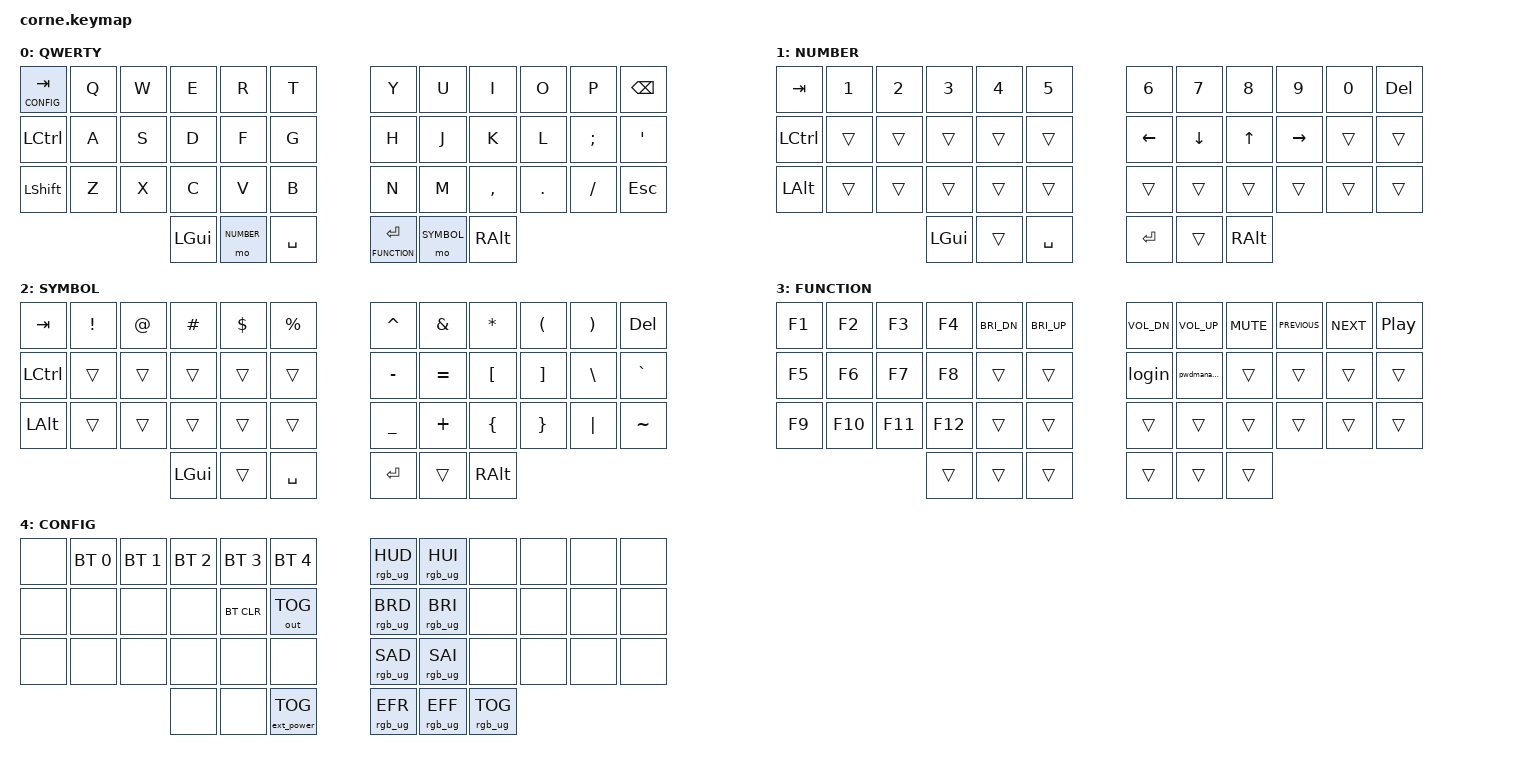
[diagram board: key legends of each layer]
// ZMK
#include <behaviors.dtsi>
#include <dt-bindings/zmk/keys.h>
#include <dt-bindings/zmk/bt.h>
#include <dt-bindings/zmk/outputs.h>
#include <dt-bindings/zmk/ext_power.h>
#include <dt-bindings/zmk/rgb.h>

// Layers
#define BASE 0
#define NUMBER 1
#define SYMBOL 2
#define FUNCTION 3
#define CONFIG 4

// Bluetooth shortcuts
#define BD1 &bt BT_SEL 0
#define BD2 &bt BT_SEL 1
#define BD3 &bt BT_SEL 2
#define BD4 &bt BT_SEL 3
#define BD5 &bt BT_SEL 4
#define BC &bt BT_CLR

// Keycodes remap
#define ___ &trans
#define XXX &none

// layer tap
#define FUNCTION_RETURN &lt FUNCTION RETURN
#define CONFIG_TAB &lt CONFIG TAB 

&led_strip {
    chain-length = <27>;
};

/ {
  macros {
    login: login {
             label = "ZM_login_macro";
             compatible = "zmk,behavior-macro";
             #binding-cells = <0>;
             wait-ms = <1>;
             tap-ms = <1>;
             bindings
                = <&kp LS(U) &kp N &kp B &kp R &kp O &kp K &kp E &kp N>
                , <&kp MINUS>
                , <&kp LS(J) &kp O &kp L &kp L &kp I &kp N &kp E &kp S &kp S>
                , <&kp EXCLAMATION &kp MINUS>
                , <&kp LS(S) &kp Q &kp U &kp E &kp A &kp L &kp E &kp R>
                ;
    };
    pwdmanager: pwdmanager {
             label = "ZM_pwdmanager_macro";
             compatible = "zmk,behavior-macro";
             #binding-cells = <0>;
             wait-ms = <1>;
             tap-ms = <1>;
             bindings
                = <&kp LS(M) &kp Y &kp LS(N) &kp A &kp M &kp E &kp LS(I) &kp S>
                , <&kp LS(G) &kp I &kp L &kp B &kp E &kp R &kp T &kp O>
                , <&kp LS(A) &kp N &kp D &kp LS(M) &kp Y &kp LS(G) &kp I &kp R>
                , <&kp L &kp F &kp R &kp I &kp E &kp N &kp D &kp LS(I)>
                , <&kp S &kp LS(M) &kp E &kp L &kp I &kp S &kp S &kp A>
                ;
    };
  };
};

/ {
  keymap {
    compatible = "zmk,keymap";
    base_layer {
      //    .-------------------------------------------------------.       .--------------------------------------------------------------------------------.
      //    |   TAB   |   Q   |   W   |    E    |     R    |    T   |       |         Y       |      U    |    I    |    O    |        P      |   BACKSPC    |
      //    |---------+-------+-------+---------+----------+--------|       |-----------------+-----------+---------+---------+---------------+--------------|
      //    |  LCTRL  |   A   |   S   |    D    |     F    |    G   |       |         H       |      J    |    K    |    L    |   SEMICOLON   | SINGLE_QUOTE |
      //    |---------+-------+-------+---------+----------+--------|       |-----------------+-----------+---------+---------+---------------+--------------|
      //    |  LSHIFT |   Z   |   X   |    C    |     V    |    B   |       |         N       |      M    |  COMMA  |  PERIOD |     SLASH     |    ESCAPE    |
      //    '-----------------------------------+----------+--------|       |-----------------+-----------+---------+----------------------------------------'
      //                              |   LGUI  |  NUMBER  | SPACE  |       | FUNCTION_RETURN |   SYMBOL  |   RALT  |
      //                              '-----------------------------'       '---------------------------------------'
      label = "QWERTY";
      bindings
          = <CONFIG_TAB &kp Q &kp W &kp E &kp R &kp T &kp Y &kp U &kp I &kp O &kp P &kp BACKSPACE>
          , <&kp LCTRL &kp A &kp S &kp D &kp F &kp G &kp H &kp J &kp K &kp L &kp SEMICOLON &kp SINGLE_QUOTE>
          , <&kp LSHIFT &kp Z &kp X &kp C &kp V &kp B &kp N &kp M &kp COMMA &kp PERIOD &kp SLASH &kp ESCAPE>
          , <&kp LGUI &mo NUMBER &kp SPACE FUNCTION_RETURN &mo SYMBOL &kp RALT>
          ;
    };

    number_layer {
      //    .------------------------------------------------------------------------.       .------------------------------------------------------------------------------.
      //    |  TAB   |     1     |     2      |    3      |      4      |      5     |       |      6     |      7    |      8     |      9      |      0    |      DEL     |
      //    |--------+-----------+------------+-----------+--------------------------|       |------------+-----------+------------+-------------+-----------+--------------|
      //    |        |           |            |           |             |            |       |    LEFT    |    DOWN   |     UP     |    RIGHT    |           |              |
      //    |--------+-----------+------------+-----------+--------------------------|       |------------+-----------+------------+-------------+-----------+--------------|
      //    | LSHIFT |           |            |           |             |            |       |            |           |            |             |           |              |
      //    '---------------------------------+-----------+--------------------------|       |------------+-----------+------------+----------------------------------------'
      //                                      |   LGUI    |             |    SPACE   |       |    RETURN  |           |     RALT   |
      //                                      '--------------------------------------'       '-------------------------------------'
      label = "NUMBER";
      bindings
          = <&kp TAB &kp NUMBER_1 &kp NUMBER_2 &kp NUMBER_3 &kp NUMBER_4 &kp NUMBER_5 &kp NUMBER_6 &kp NUMBER_7 &kp NUMBER_8 &kp NUMBER_9 &kp NUMBER_0 &kp DEL>
          , <&kp LCTRL ___ ___ ___ ___ ___ &kp LEFT &kp DOWN &kp UP &kp RIGHT ___ ___>   
          , <&kp LALT ___ ___ ___ ___ ___ ___ ___ ___ ___ ___ ___> 
          , <&kp LGUI ___ &kp SPACE &kp RETURN ___ &kp RALT>     
          ;                                         
    };

    symbol_layer {
      //    .-----------------------------------------------------------------.       .-------------------------------------------------------------------------------.
      //    |  TAB  |       !       |    @    |    #    |     $    |     %    |       |      ^      |      &     |      *       |   (   |        )     |     DEL      |
      //    |-------+---------------+---------+---------+----------+----------|       |-------------+------------+--------------+-------+--------------+--------------|
      //    | LCTRL |               |         |         |          |          |       |      -      |      =     |      [       |   ]   |        \     |      `       |
      //    |-------+---------------+---------+---------+----------+----------|       |-------------+------------+--------------+-------+--------------+--------------|
      //    | LALT  |               |         |         |          |          |       |      -      |      +     |       {      |   }   |        |     |      ~       |
      //    '---------------------------------+---------+---------------------|       |-------------+------------+----------------------------------------------------'
      //                                      |   LGUI  |          |   SPACE  |       |    RETURN   |            |     RALT     |
      //                                      '-------------------------------'       '-----------------------------------------'
      label = "SYMBOL";
      bindings = <
              &kp TAB   &kp EXCLAMATION &kp AT_SIGN &kp HASH &kp DOLLAR &kp PERCENT       &kp CARET      &kp AMPERSAND &kp ASTERISK &kp LPAR &kp RPAR      &kp DEL
              &kp LCTRL ___             ___         ___      ___        ___               &kp MINUS      &kp EQUAL     &kp LBKT     &kp RBKT &kp BACKSLASH &kp GRAVE
              &kp LALT  ___             ___         ___      ___        ___               &kp UNDERSCORE &kp PLUS      &kp LBRC     &kp RBRC &kp PIPE      &kp TILDE             
                                                    &kp LGUI ___        &kp SPACE         &kp RETURN     ___           &kp RALT 
        >;
    };

    function_layer {
      //    .------------------------------------.       .-----------------------.
      //    |    F1  |  F2  |  F3  |   F4  |  |  |       |   |   |   |   |   |   |
      //    |--------+------+------+-------+--+--|       |---+---+---+---+---+---|
      //    |    F5  |  F6  |  F7  |   F8  |  |  |       |   |   |   |   |   |   |
      //    |--------+------+------+-------+--+--|       |---+---+---+---+---+---|
      //    |    F9  |  F10 |  F11 |  F12  |  |  |       |   |   |   |   |   |   |                                          
      //    '------------------------------------|       |---+---+---+-----------'
      //                           |       |  |  |       |   |   |   |
      //                           '-------------'       '-----------'
      label = "FUNCTION";
      bindings = <
              &kp F1  &kp F2  &kp F3  &kp F4  &kp C_BRI_DN &kp C_BRI_UP       &kp C_VOL_DN &kp C_VOL_UP &kp C_MUTE &kp C_PREVIOUS &kp C_NEXT &kp C_PLAY_PAUSE 
              &kp F5  &kp F6  &kp F7  &kp F8  ___          ___                &login       &pwdmanager  ___        ___        ___            ___
              &kp F9  &kp F10 &kp F11 &kp F12 ___          ___                ___          ___          ___        ___        ___            ___
                                      ___     ___          ___                ___          ___          ___
        >;
    };

    config_layer {
      //   .---------------------------------------------------------.                    .-------------------------------------------------.
      //   |        |BT_0   |BT_1   | BT_2   |BT_3   |BT_4           |                    |RGBBRI-|RGBBRI+|WH_LEFT|WH_RIGH|WH_DOWN| WH_UP   |
      //   |--------+-------+-------+--------+-------+---------------|                    |-------+-------+-------+-------+-------+---------|
      //   |        |       |       |        |BT_CLR |OUT_TOG        |                    |RGBSAT-|RGBSAT+|       |       |       |         |
      //   |--------+-------+-------+--------+-------+---------------|                    |-------+-------+-------+-------+-------+---------|
      //   |        |       |       |        |       |               |                    |RGBHUE-|RGBHUE+|       |       |       |         |
      //   '---------------------------------------------------------|                    |-------------------------------------------------'
      //                            |        |       |EP_TOG         |                    |RGBANI- |RGBANI+|   RGBTOG      |
      //                            '--------------------------------'                    '--------------------------------'
      label = "CONFIG";
      bindings = <
              XXX BD1 BD2 BD3 BD4 BD5                   &rgb_ug RGB_HUD &rgb_ug RGB_HUI XXX             XXX XXX XXX
              XXX XXX XXX XXX BC  &out OUT_TOG          &rgb_ug RGB_BRD &rgb_ug RGB_BRI XXX             XXX XXX XXX
              XXX XXX XXX XXX XXX XXX                   &rgb_ug RGB_SAD &rgb_ug RGB_SAI XXX             XXX XXX XXX
                          XXX XXX &ext_power EP_TOG     &rgb_ug RGB_EFR &rgb_ug RGB_EFF &rgb_ug RGB_TOG
        >;
    };
  };
};
